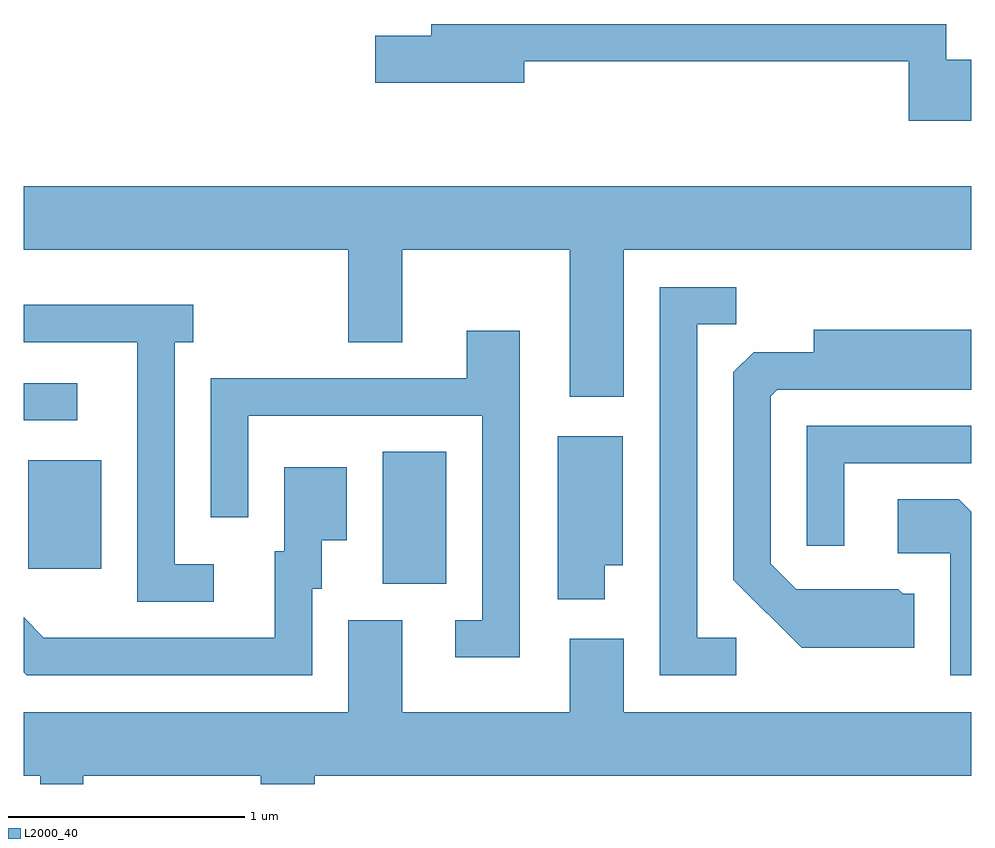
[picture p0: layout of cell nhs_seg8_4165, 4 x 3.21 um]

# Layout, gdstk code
import gdstk
lib = gdstk.Library(unit=1e-6, precision=1e-09)
def R(c, l, rs):  # rectangles x0, y0, x1, y1
    for r in rs: c.add(gdstk.rectangle(r[:2], r[2:], *l))
def P(c, l, *ps):  # polygons
    for p in ps: c.add(gdstk.Polygon(p, *l))
L2000_40 = (2000, 40)

nhs_seg8_4165 = lib.new_cell('nhs_seg8_4165')
R(nhs_seg8_4165, L2000_40, [(311.126,1877.186,311.394,1877.744), (309.631,1877.251,309.939,1877.709), (309.611,1877.876,309.838,1878.034)])
P(nhs_seg8_4165, L2000_40, [(313.611,1879.399),(313.504,1879.399),(313.504,1879.549),(311.331,1879.549),(311.331,1879.499),(311.096,1879.499),(311.096,1879.301),(311.724,1879.301),(311.724,1879.391),(313.346,1879.391),(313.346,1879.141),(313.611,1879.141)],
  [(312.144,1878.596),(313.611,1878.596),(313.611,1878.864),(309.611,1878.864),(309.611,1878.596),(310.981,1878.596),(310.981,1878.206),(311.209,1878.206),(311.209,1878.596),(311.916,1878.596),(311.916,1877.976),(312.144,1877.976)],
  [(312.618,1876.959),(312.454,1876.959),(312.454,1878.281),(312.618,1878.281),(312.618,1878.439),(312.296,1878.439),(312.296,1876.801),(312.618,1876.801)],
  [(310.413,1877.269),(310.249,1877.269),(310.249,1878.206),(310.328,1878.206),(310.328,1878.364),(309.611,1878.364),(309.611,1878.206),(310.091,1878.206),(310.091,1877.111),(310.413,1877.111)],
  [(313.369,1877.144),(313.322,1877.144),(313.302,1877.164),(312.872,1877.164),(312.764,1877.272),(312.764,1877.979),(312.792,1878.006),(313.611,1878.006),(313.611,1878.259),(312.946,1878.259),(312.946,1878.164),(312.692,1878.164),(312.606,1878.079),(312.606,1877.204),(312.894,1876.916),(313.369,1876.916)],
  [(311.704,1878.254),(311.481,1878.254),(311.481,1878.054),(310.401,1878.054),(310.401,1877.468),(310.559,1877.468),(310.559,1877.896),(311.546,1877.896),(311.546,1877.034),(311.433,1877.034),(311.433,1876.876),(311.704,1876.876)],
  [(313.074,1877.696),(313.611,1877.696),(313.611,1877.854),(312.916,1877.854),(312.916,1877.348),(313.074,1877.348)],
  [(312.064,1877.266),(312.139,1877.266),(312.139,1877.809),(311.866,1877.809),(311.866,1877.121),(312.064,1877.121)],
  [(310.829,1877.166),(310.869,1877.166),(310.869,1877.371),(310.974,1877.371),(310.974,1877.679),(310.711,1877.679),(310.711,1877.324),(310.671,1877.324),(310.671,1876.959),(309.697,1876.959),(309.611,1877.045),(309.611,1876.814),(309.624,1876.801),(310.829,1876.801)],
  [(313.611,1877.49),(313.557,1877.544),(313.301,1877.544),(313.301,1877.316),(313.521,1877.316),(313.521,1876.801),(313.611,1876.801)],
  [(309.864,1876.376),(310.611,1876.376),(310.611,1876.342),(310.839,1876.342),(310.839,1876.376),(313.611,1876.376),(313.611,1876.644),(312.144,1876.644),(312.144,1876.954),(311.916,1876.954),(311.916,1876.644),(311.209,1876.644),(311.209,1877.034),(310.981,1877.034),(310.981,1876.644),(309.611,1876.644),(309.611,1876.376),(309.681,1876.376),(309.681,1876.342),(309.864,1876.342)])

lib.write_gds('nhs_seg8_4165.gds')
